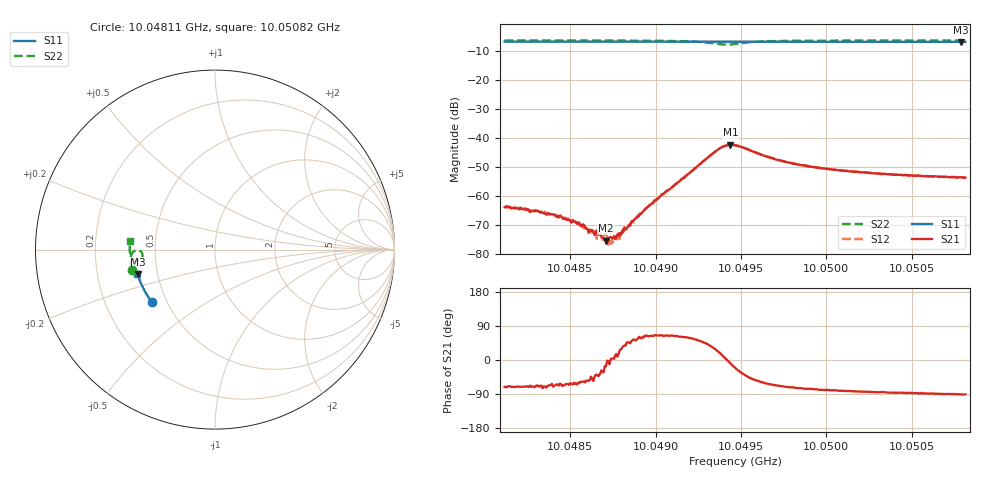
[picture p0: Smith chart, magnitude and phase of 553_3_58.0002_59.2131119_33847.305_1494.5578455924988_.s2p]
#  HZ  S  RI  R  50.00
! Rohde & Schwarz Vector Network Analyzer
! Rohde-Schwarz,ZNB20-2Port,1311601062101988,3.16
! Created: UTC 3/21/2024, 1:15:06 AM
! freq[Hz]  re:S11  im:S11  re:S21  im:S21  re:S12  im:S12  re:S22  im:S22
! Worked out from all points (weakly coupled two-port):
!   401 points, 10.04811 GHz to 10.05082 GHz, reference 50 ohm
!   highest |S21| = -42.33 dB at 10.04944 GHz (marker M1); lowest = -75.3 dB at 10.04871 GHz (marker M2)
!   lowest |S11| = -6.9 dB at 10.05079 GHz (marker M3), VSWR 2.65, Z = 19.2 - j6.6 ohm
!   |S11| at or under -10 dB: nowhere
!   |S22| runs from -7.9 to -6.4 dB; largest |S21 - S12| = 0.00056
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1.0048115e10  -0.3518 -0.2915  0.000208 -0.000611  0.000242 -0.000625  -0.4645 -0.1114
1.0048304e10  -0.3594 -0.2815  0.00022 -0.000519  0.000224 -0.000507  -0.467 -0.0981
1.0048432e10  -0.3643 -0.2745  0.000163 -0.000395  0.000223 -0.000393  -0.4684 -0.0888
1.004852e10  -0.3676 -0.2699  0.000182 -0.000318  0.000203 -0.000314  -0.4694 -0.0823
1.0048567e10  -0.3695 -0.2674  0.000163 -0.000256  0.000201 -0.000266  -0.4697 -0.0787
1.0048608e10  -0.3709 -0.2651  0.000134 -0.00019  0.000174 -0.000195  -0.4702 -0.0756
1.0048668e10  -0.3731 -0.2618  0.000166 -0.000145  0.000189 -0.000124  -0.4703 -0.0708
1.0048709e10  -0.3746 -0.2595  0.000165 -4.91e-05  0.000214 -5.53e-05  -0.4705 -0.0676
1.0048736e10  -0.3755 -0.2579  0.000197 5.81e-06  0.000138 -4.07e-06  -0.4706 -0.0654
1.004877e10  -0.3766 -0.256  0.000193 5.42e-05  0.000174 5.08e-05  -0.4709 -0.0627
1.0048783e10  -0.3772 -0.2555  0.000197 5.7e-05  0.000209 0.000101  -0.4709 -0.0614
1.0048905e10  -0.3814 -0.2486  0.000227 0.000411  0.000218 0.000443  -0.4705 -0.0504
1.0049019e10  -0.3854 -0.242  0.000408 0.000852  0.000348 0.000862  -0.4691 -0.0389
1.0049357e10  -0.3957 -0.2225  0.00551 0.00263  0.00533 0.003  -0.4189 -0.00693
1.0049397e10  -0.3966 -0.2202  0.00706 0.00121  0.00699 0.00165  -0.4059 -0.0206
1.0049438e10  -0.3978 -0.218  0.00755 -0.00119  0.00762 -0.000658  -0.4043 -0.0411
1.0049465e10  -0.3986 -0.2166  0.00704 -0.00261  0.00725 -0.00216  -0.4111 -0.0528
1.0049715e10  -0.4064 -0.2023  0.00162 -0.00388  0.0019 -0.00381  -0.466 -0.0414
1.0049917e10  -0.412 -0.19  0.000771 -0.00308  0.000903 -0.00309  -0.4733 -0.0194
1.005037e10  -0.4228 -0.1625  0.00017 -0.00237  0.000316 -0.00234  -0.4754 0.0181
1.0050788e10  -0.4311 -0.1364  -3.78e-05 -0.00212  0.000113 -0.0021  -0.4735 0.0482
1.0050815e10  -0.4318 -0.1348  -2.65e-05 -0.00208  8.54e-05 -0.00208  -0.4733 0.0501
